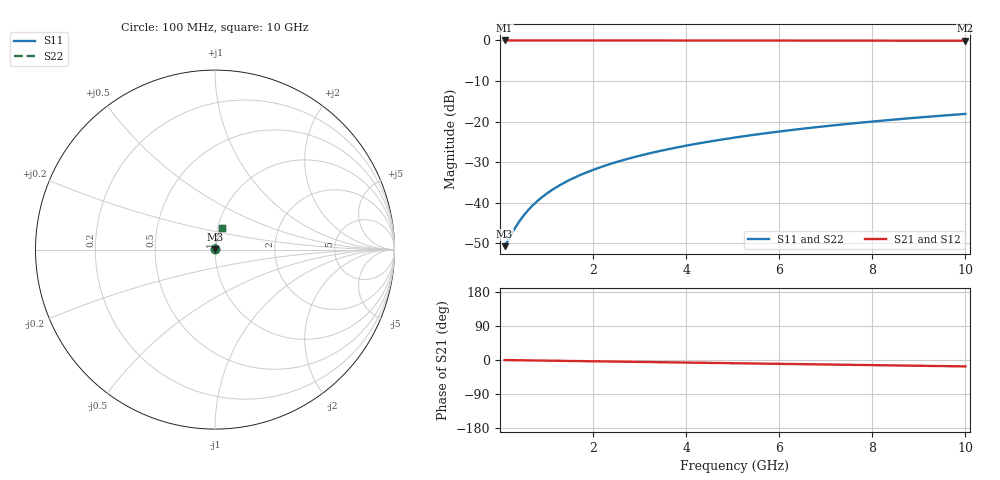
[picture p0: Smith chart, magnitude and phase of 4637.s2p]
# Hz S RI R 50.00
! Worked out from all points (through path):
!   100 points, 100 MHz to 10 GHz, reference 50 ohm
!   highest |S21| = -0.02 dB at 100 MHz (marker M1); lowest = -0.1 dB at 10 GHz (marker M2)
!   group delay of S21, straight-line fit = 4.69 ps
!   lowest |S11| = -50.7 dB at 100 MHz (marker M3), VSWR 1.01, Z = 50.3 + j0.126 ohm
!   |S11| at or under -10 dB: start of sweep to end of sweep
!   |S22| runs from -50.7 to -18.1 dB; largest |S21 - S12| = 0
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1e8  0.00264 0.00126  0.9974 -0.00295  0.9974 -0.00295  0.00264 0.00126
3e8  0.0027 0.00377  0.9973 -0.00884  0.9973 -0.00884  0.0027 0.00377
4e8  0.00274 0.00503  0.9972 -0.0118  0.9972 -0.0118  0.00274 0.00503
5e8  0.00278 0.00629  0.9972 -0.0147  0.9972 -0.0147  0.00278 0.00629
6e8  0.00283 0.00754  0.9971 -0.0177  0.9971 -0.0177  0.00283 0.00754
7e8  0.00288 0.0088  0.997 -0.0206  0.997 -0.0206  0.00288 0.0088
8e8  0.00295 0.0101  0.9969 -0.0236  0.9969 -0.0236  0.00295 0.0101
1e9  0.00309 0.0126  0.9968 -0.0295  0.9968 -0.0295  0.00309 0.0126
1.2e9  0.00326 0.0151  0.9965 -0.0353  0.9965 -0.0353  0.00326 0.0151
1.5e9  0.00357 0.0188  0.9961 -0.0442  0.9961 -0.0442  0.00357 0.0188
1.8e9  0.00395 0.0226  0.9956 -0.053  0.9956 -0.053  0.00395 0.0226
2.1e9  0.0044 0.0263  0.9949 -0.0618  0.9949 -0.0618  0.0044 0.0263
2.5e9  0.00509 0.0313  0.994 -0.0735  0.994 -0.0735  0.00509 0.0313
2.9e9  0.0059 0.0363  0.9929 -0.0853  0.9929 -0.0853  0.0059 0.0363
3.4e9  0.00707 0.0424  0.9912 -0.0999  0.9912 -0.0999  0.00707 0.0424
4.2e9  0.00933 0.0522  0.9881 -0.1232  0.9881 -0.1232  0.00933 0.0522
5.1e9  0.0124 0.0631  0.9838 -0.1493  0.9838 -0.1493  0.0124 0.0631
5.9e9  0.0156 0.0726  0.9793 -0.1723  0.9793 -0.1723  0.0156 0.0726
6.7e9  0.0193 0.0819  0.9741 -0.1952  0.9741 -0.1952  0.0193 0.0819
7.5e9  0.0234 0.091  0.9684 -0.2179  0.9684 -0.2179  0.0234 0.091
8.4e9  0.0285 0.1011  0.9612 -0.2432  0.9612 -0.2432  0.0285 0.1011
1e10  0.0388 0.1181  0.9465 -0.2874  0.9465 -0.2874  0.0388 0.1181
